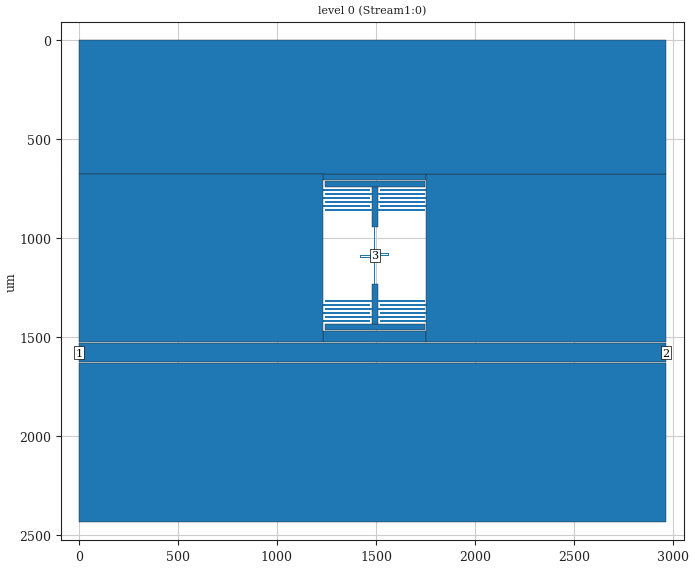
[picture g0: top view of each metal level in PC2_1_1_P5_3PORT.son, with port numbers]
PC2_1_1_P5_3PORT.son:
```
FTYP SONPROJ 19 ! Sonnet Project File
VER 18.56
HEADER
LIC infn2.1.84251
DAT 05/11/2026 10:18:25
BUILT_BY_CREATED gds 18.56 05/11/2026 10:10:44
BUILT_BY_SAVED sonnet 18.56
MDATE 05/11/2026 10:18:25
HDATE 05/11/2026 10:18:25
END HEADER
DIM
ANG DEG
CAP PF
CON /OH
FREQ GHZ
IND NH
LNG UM
RES OH
END DIM
CONTROL
VARSWP
OPTIONS  -d
SPEED 2
CACHE_ABS 2
Q_ACC N
END CONTROL
GEO
TMET "Lossless" 0 SUP 0 0 0 0
BMET "Lossless" 0 SUP 0 0 0 0
MET "TiN" 1 SUP 0 0 0 "Lk"
BOX 1 2965 2437.5 2372 1950 20 0
      1000 1 1 0 0 0 0 "Vacuum"
      500 11.9 1 0.004 0 0.00044 0 "Silicon (intrinsic)"
TECHLAY METAL Stream1:0 <UNSPECIFIED> 1 0 
0 0 0 N 77 1 1 100 100 0 0 0 Y
END
END
VALVAR Lk NONE 0 ""
DIM STD YDIR -1
POS -27.60859099 -5.674819775
NOM 5
REF1 POLY 67 1
1
REF2 POLY 41 1
0
END
DIM STD YDIR 1
POS 29.27718615 85.28829307
NOM 5
REF1 POLY 41 1
3
REF2 POLY 67 1
2
END
DIM STD YDIR -1
POS 31.99621405 -1.906320061
NOM 5
REF1 POLY 41 1
2
REF2 POLY 38 1
3
END
DIM STD YDIR 1
POS -25.72618706 4.557771885
NOM 5
REF1 POLY 40 1
0
REF2 POLY 41 1
1
END
LORGN 0 2437.5 U 
POR1 BOX
POLY 41 1
0
1 50 0 0 0 0 1580 
POR1 BOX
POLY 41 1
2
2 50 0 0 0 2965 1580 
POR1 GAP
POLY 91 1
3
3 50 0 0 0 1495 1090 
NUM 43
0 5 0 N 1 1 1 100 100 0 0 0 Y
TLAYNAM Stream1:0 INH
1235 710
1235 680
1755 680
1755 710
1235 710
END
0 5 0 N 2 1 1 100 100 0 0 0 Y
TLAYNAM Stream1:0 INH
1245 745
1245 715
1745 715
1745 745
1245 745
END
0 5 0 N 3 1 1 100 100 0 0 0 Y
TLAYNAM Stream1:0 INH
1480 945
1480 745
1510 745
1510 945
1480 945
END
0 5 0 N 4 1 1 100 100 0 0 0 Y
TLAYNAM Stream1:0 INH
1235 765
1235 755
1470 755
1470 765
1235 765
END
0 5 0 N 5 1 1 100 100 0 0 0 Y
TLAYNAM Stream1:0 INH
1245 785
1245 775
1480 775
1480 785
1245 785
END
0 5 0 N 6 1 1 100 100 0 0 0 Y
TLAYNAM Stream1:0 INH
1520 765
1520 755
1755 755
1755 765
1520 765
END
0 5 0 N 7 1 1 100 100 0 0 0 Y
TLAYNAM Stream1:0 INH
1510 785
1510 775
1745 775
1745 785
1510 785
END
0 5 0 N 8 1 1 100 100 0 0 0 Y
TLAYNAM Stream1:0 INH
1245 1465
1245 1435
1745 1435
1745 1465
1245 1465
END
0 5 0 N 9 1 1 100 100 0 0 0 Y
TLAYNAM Stream1:0 INH
1480 1435
1480 1235
1510 1235
1510 1435
1480 1435
END
0 5 0 N 10 1 1 100 100 0 0 0 Y
TLAYNAM Stream1:0 INH
1235 1425
1235 1415
1470 1415
1470 1425
1235 1425
END
0 5 0 N 11 1 1 100 100 0 0 0 Y
TLAYNAM Stream1:0 INH
1245 1405
1245 1395
1480 1395
1480 1405
1245 1405
END
0 5 0 N 12 1 1 100 100 0 0 0 Y
TLAYNAM Stream1:0 INH
1510 1405
1510 1395
1745 1395
1745 1405
1510 1405
END
0 5 0 N 13 1 1 100 100 0 0 0 Y
TLAYNAM Stream1:0 INH
1520 1425
1520 1415
1755 1415
1755 1425
1520 1425
END
0 5 0 N 14 1 1 100 100 0 0 0 Y
TLAYNAM Stream1:0 INH
1510 865
1510 855
1745 855
1745 865
1510 865
END
0 5 0 N 15 1 1 100 100 0 0 0 Y
TLAYNAM Stream1:0 INH
1245 865
1245 855
1480 855
1480 865
1245 865
END
0 5 0 N 16 1 1 100 100 0 0 0 Y
TLAYNAM Stream1:0 INH
1520 845
1520 835
1755 835
1755 845
1520 845
END
0 5 0 N 17 1 1 100 100 0 0 0 Y
TLAYNAM Stream1:0 INH
1235 845
1235 835
1470 835
1470 845
1235 845
END
0 5 0 N 18 1 1 100 100 0 0 0 Y
TLAYNAM Stream1:0 INH
1510 825
1510 815
1745 815
1745 825
1510 825
END
0 5 0 N 19 1 1 100 100 0 0 0 Y
TLAYNAM Stream1:0 INH
1245 825
1245 815
1480 815
1480 825
1245 825
END
0 5 0 N 20 1 1 100 100 0 0 0 Y
TLAYNAM Stream1:0 INH
1520 805
1520 795
1755 795
1755 805
1520 805
END
0 5 0 N 21 1 1 100 100 0 0 0 Y
TLAYNAM Stream1:0 INH
1235 805
1235 795
1470 795
1470 805
1235 805
END
0 5 0 N 22 1 1 100 100 0 0 0 Y
TLAYNAM Stream1:0 INH
1510 1325
1510 1315
1745 1315
1745 1325
1510 1325
END
0 5 0 N 23 1 1 100 100 0 0 0 Y
TLAYNAM Stream1:0 INH
1245 1325
1245 1315
1480 1315
1480 1325
1245 1325
END
0 5 0 N 24 1 1 100 100 0 0 0 Y
TLAYNAM Stream1:0 INH
1520 1345
1520 1335
1755 1335
1755 1345
1520 1345
END
0 5 0 N 25 1 1 100 100 0 0 0 Y
TLAYNAM Stream1:0 INH
1235 1345
1235 1335
1470 1335
1470 1345
1235 1345
END
0 5 0 N 26 1 1 100 100 0 0 0 Y
TLAYNAM Stream1:0 INH
1510 1365
1510 1355
1745 1355
1745 1365
1510 1365
END
0 5 0 N 27 1 1 100 100 0 0 0 Y
TLAYNAM Stream1:0 INH
1245 1365
1245 1355
1480 1355
1480 1365
1245 1365
END
0 5 0 N 28 1 1 100 100 0 0 0 Y
TLAYNAM Stream1:0 INH
1520 1385
1520 1375
1755 1375
1755 1385
1520 1385
END
0 5 0 N 29 1 1 100 100 0 0 0 Y
TLAYNAM Stream1:0 INH
1235 1385
1235 1375
1470 1375
1470 1385
1235 1385
END
0 5 0 N 30 1 1 100 100 0 0 0 Y
TLAYNAM Stream1:0 INH
1235 1525
1235 1470
1755 1470
1755 1525
1235 1525
END
0 5 0 N 32 1 1 100 100 0 0 0 Y
TLAYNAM Stream1:0 INH
1562.5 1087.5
1562.5 1082.5
1567.5 1082.5
1567.5 1087.5
1562.5 1087.5
END
0 5 0 N 33 1 1 100 100 0 0 0 Y
TLAYNAM Stream1:0 INH
1492.5 1082.5
1492.5 1077.5
1567.5 1077.5
1567.5 1082.5
1492.5 1082.5
END
0 5 0 N 34 1 1 100 100 0 0 0 Y
TLAYNAM Stream1:0 INH
1417.5 1097.5
1417.5 1092.5
1422.5 1092.5
1422.5 1097.5
1417.5 1097.5
END
0 5 0 N 35 1 1 100 100 0 0 0 Y
TLAYNAM Stream1:0 INH
1417.5 1102.5
1417.5 1097.5
1492.5 1097.5
1492.5 1102.5
1417.5 1102.5
END
0 5 0 N 36 1 1 100 100 0 0 0 Y
TLAYNAM Stream1:0 INH
1492.5 1077.5
1492.5 945
1497.5 945
1497.5 1077.5
1492.5 1077.5
END
0 5 0 N 37 1 1 100 100 0 0 0 Y
TLAYNAM Stream1:0 INH
1492.5 1235
1492.5 1097.5
1497.5 1097.5
1497.5 1235
1492.5 1235
END
0 5 0 N 38 1 1 100 100 0 0 0 Y
TLAYNAM Stream1:0 INH
1755 1525
1755 680
2965 680
2965 1525
1755 1525
END
0 5 0 N 39 1 1 100 100 0 0 0 Y
TLAYNAM Stream1:0 INH
0 680
0 0
2965 0
2965 680
0 680
END
0 5 0 N 40 1 1 100 100 0 0 0 Y
TLAYNAM Stream1:0 INH
0 1525
0 680
1235 680
1235 1525
0 1525
END
0 5 0 N 41 1 1 100 100 0 0 0 Y
TLAYNAM Stream1:0 INH
0 1630
0 1530
2965 1530
2965 1630
0 1630
END
0 5 0 N 67 1 1 100 100 0 0 0 Y
TLAYNAM Stream1:0 INH
0 2437.5
0 1635
2965 1635
2965 2437.5
0 2437.5
END
0 5 0 N 90 1 1 100 100 0 0 0 Y
TLAYNAM Stream1:0 INH
1567.5 1087.5
1495 1087.5
1495 1092.5
1567.5 1092.5
1567.5 1087.5
END
0 5 0 N 91 1 1 100 100 0 0 0 Y
TLAYNAM Stream1:0 INH
1495 1087.5
1417.5 1087.5
1417.5 1092.5
1495 1092.5
1495 1087.5
END
END GEO
OPT
MAX 0
END OPT
VARSWP
SWPVARS ON
ENABLED Y
FREQ Y AY ABS_ENTRY 2.0 20.0 -1 300 
VAR Lk Y 0.0 20.0 1.0
END
END VARSWP
```
